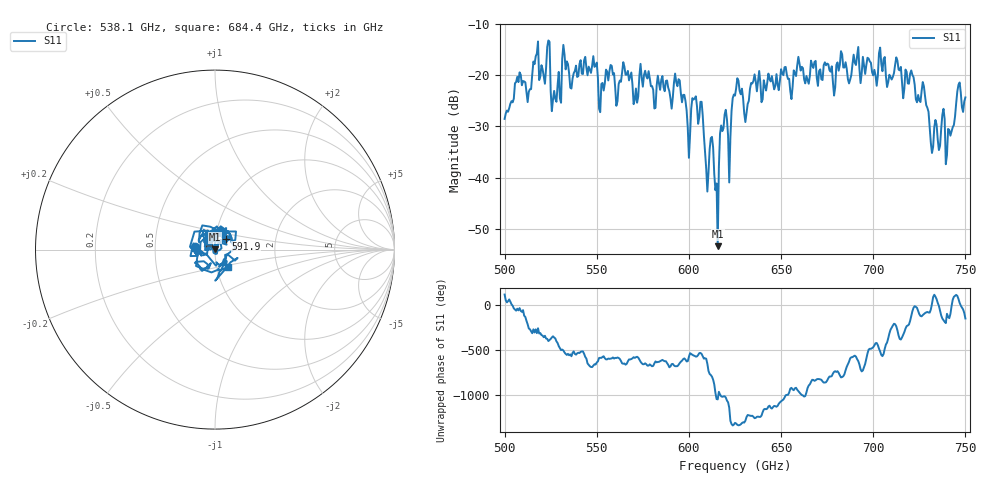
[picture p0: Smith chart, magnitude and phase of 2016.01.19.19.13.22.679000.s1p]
!Created with skrf (http://scikit-rf.org).
# GHz S RI R 50.0
!freq ReS11 ImS11
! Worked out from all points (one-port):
!   401 points, 500 GHz to 750 GHz, reference 50 ohm
!   lowest |S11| = -53.4 dB at 615.6 GHz (marker M1), VSWR 1.00, Z = 50.2 + j0.0914 ohm
!   |S11| at or under -10 dB: start of sweep to end of sweep
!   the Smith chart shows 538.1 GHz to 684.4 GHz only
!   S11 on the Smith chart (normalised r, x): 538.1 GHz: 0.80, +0.03; 591.9 GHz: 1.12, +0.13; 684.4 GHz: 1.13, -0.22
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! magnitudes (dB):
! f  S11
! 500 GHz  -28.5
! 507.5 GHz  -21.3
! 513.1 GHz  -23.2
! 516.9 GHz  -16.3
! 523.8 GHz  -13.1
! 526.9 GHz  -23.0
! 531.2 GHz  -16.7
! 538.1 GHz  -19.1
! 562.5 GHz  -21.0
! 591.9 GHz  -21.4
! 593.8 GHz  -22.1
! 599.4 GHz  -30.3
! 606.9 GHz  -25.2
! 609.4 GHz  -38.2
! 612.5 GHz  -32.0
! 615.6 GHz  -53.4
! 618.1 GHz  -30.9
! 621.9 GHz  -41.0
! 625 GHz  -23.9
! 656.2 GHz  -22.2
! 684.4 GHz  -18.4
! 687.5 GHz  -20.8
! 718.8 GHz  -21.6
! 727.5 GHz  -22.1
! 731.9 GHz  -35.2
! 740.6 GHz  -30.5
! 746.2 GHz  -21.8
! 750 GHz  -24.3
